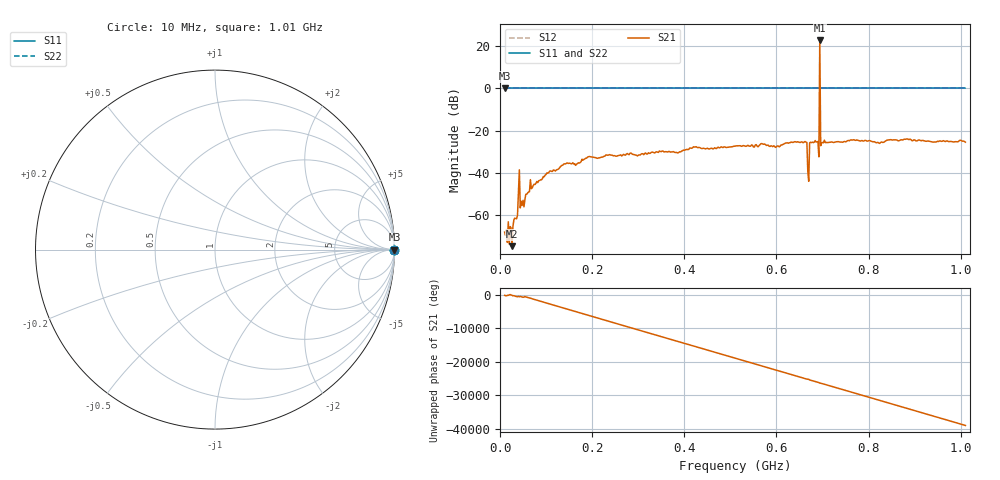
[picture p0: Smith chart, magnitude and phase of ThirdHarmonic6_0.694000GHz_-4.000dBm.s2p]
! 8/15/2025 11:10:19 PM
! C:\ANRITSUVNA\TEMP\TEMP.S2P
! CHANNEL.1
! TR.MEASUREMENT
! RAW.DATA
! RF.CORRECTION.OFF
! AVERAGING.OFF
! IF.BANDWIDTH: 5KHZ
! SWEEPTYPE:  FREQ.SWEEP(Linear)
! Reference Plane Port Info
! PORT:  PORT1  PORT2
! DISTANCE:  0  m  0  m
! TIME:  0  s  0  s
! PHASE.OFFSET:  0  deg.  0  deg.
! LOSS:  0  dB  0  dB
! REF.LOSS:  0  dB  0  dB
! REF.FREQ:  0  Hz  0  Hz
! Power Info
! POWER:  -20  dBm  -20  dBm
! EFF.POWER:  -20  dBm  -20  dBm
! SOURCE.ATTEN:  0  dB  0  dB
! TEST.ATTEN:  0  dB  0  dB
# GHZ S RI R 50.0
! FREQ.GHZ  S11RE  S11IM  S21RE  S21IM  S12RE  S12IM  S22RE  S22IM
!; PortSelection: Port_12
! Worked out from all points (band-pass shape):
!   501 points, 10 MHz to 1.01 GHz, reference 50 ohm
!   highest |S21| = 22.59 dB at 694 MHz (marker M1); lowest = -74.5 dB at 26 MHz (marker M2)
!   |S21| within 3 dB of the highest: 693.8908 MHz to 694.1207 MHz (229.9 kHz wide, 0.0331 % of centre)
!   lowest |S11| = 0.0 dB at 10 MHz (marker M3)
!   |S11| at or under -10 dB: nowhere
!   |S22| runs from 0.0 to 0.0 dB; largest |S21 - S12| = 14
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0.01  1 0  -0.000379 -0.00014  1 0  1 0
0.024  1 0  0.000248 -0.000449  1 0  1 0
0.026  1 0  -7.57e-05 -0.000172  1 0  1 0
0.044  1 0  -0.000772 -0.00129  1 0  1 0
0.048  1 0  0.000339 0.00169  1 0  1 0
0.07  1 0  -0.00174 -0.00415  1 0  1 0
0.106  1 0  -0.00742 -0.00722  1 0  1 0
0.178  1 0  -0.021 0.00317  1 0  1 0
0.344  1 0  0.03 -0.00682  1 0  1 0
0.51  1 0  -0.0396 0.0169  1 0  1 0
0.662  1 0  -0.0536 0.0146  1 0  1 0
0.666  1 0  0.0526 0.0012  1 0  1 0
0.672  1 0  -0.0252 0.0452  1 0  1 0
0.676  1 0  0.0404 -0.0334  1 0  1 0
0.678  1 0  -0.0266 -0.0467  1 0  1 0
0.688  1 0  -0.052 -0.0168  1 0  1 0
0.69  1 0  -0.0259 0.0491  1 0  1 0
0.694  1 0  -2.156 -13.31  1 0  1 0
0.698  1 0  -0.0452 0.0246  1 0  1 0
0.7  1 0  0.0152 0.0503  1 0  1 0
0.844  1 0  0.0452 0.0401  1 0  1 0
1.01  1 0  -0.0524 -0.0118  1 0  1 0
